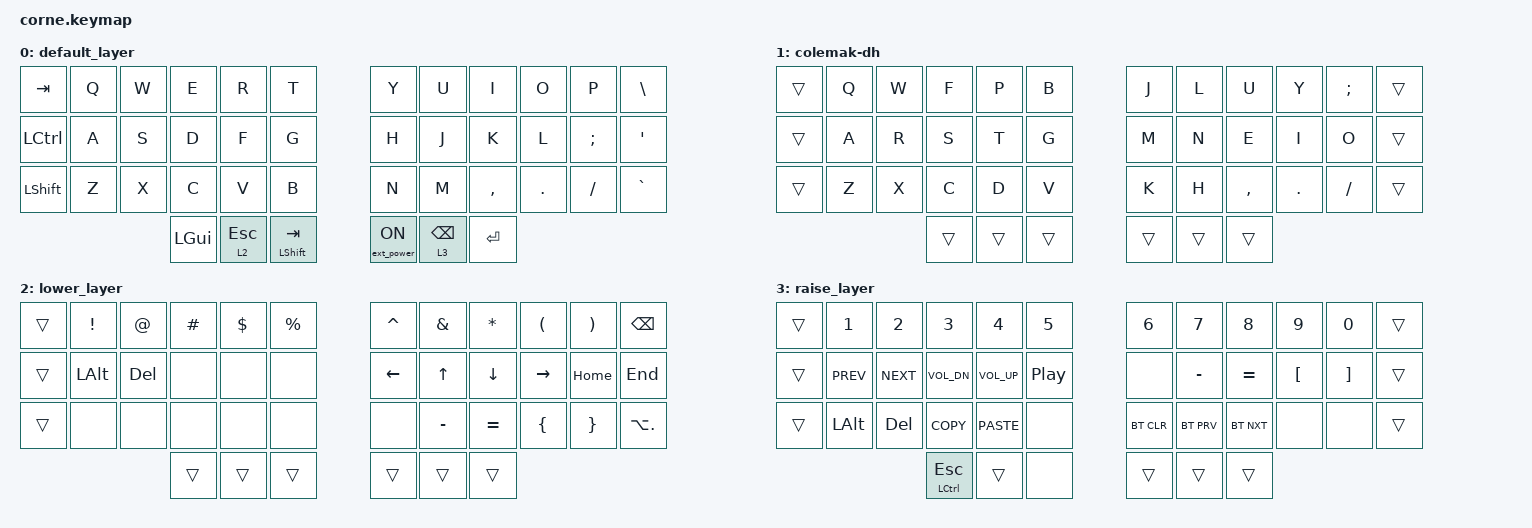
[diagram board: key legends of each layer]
/*
 * Copyright (c) 2020 The ZMK Contributors
 *
 * SPDX-License-Identifier: MIT
 */

#include <behaviors.dtsi>
#include <dt-bindings/zmk/bt.h>
#include <dt-bindings/zmk/ext_power.h>
#include <dt-bindings/zmk/keys.h>

#define DEFAULT 0
#define LOWER 1
#define RAISE 2
#define COLEMAK 3

&lt {
    tapping-term-ms = <200>;
    quick-tap-ms = <200>;
};

/ {
    combos {
        compatible = "zmk,combos";

        combo_esc {
            timeout-ms = <50>;
            key-positions = <19 20>;
            bindings = <&kp ESC>;
        };

        toggle-colemak {
            bindings = <&tog 1>;
            key-positions = <37 40>;
        };
    };

    keymap {
        compatible = "zmk,keymap";

        default_layer {
            // -----------------------------------------------------------------------------------------
            // |  TAB  |  Q  |  W  |  E  |  R  |  T  |   |  Y  |  U   |  I  |  O  |  P  | BSLH |
            // |  CTRL |  A  |  S  |  D  |  F  |  G  |   |  H  |  J   |  K  |  L  |  ;  | SQT  |
            // | SHFT  |  Z  |  X  |  C  |  V  |  B  |   |  N  |  M   |  ,  |  .  |  /  | GRAVE|
            //   | GUI | L1 and ESC | LSHIFT and TAB |   |SPACE| L2 and BSPC | ENTER |

            bindings = <
&kp TAB    &kp Q  &kp W  &kp E     &kp R      &kp T            &kp Y             &kp U       &kp I      &kp O    &kp P     &kp BSLH
&kp LCTRL  &kp A  &kp S  &kp D     &kp F      &kp G            &kp H             &kp J       &kp K      &kp L    &kp SEMI  &kp SQT
&kp LSHFT  &kp Z  &kp X  &kp C     &kp V      &kp B            &kp N             &kp M       &kp COMMA  &kp DOT  &kp FSLH  &kp GRAVE
                         &kp LGUI  &lt 2 ESC  &mt LSHFT TAB    &ext_power EP_ON  &lt 3 BSPC  &kp RET
            >;
        };

        colemak-dh {
            bindings = <
&trans  &kp Q  &kp W  &kp F   &kp P   &kp B     &kp J   &kp L   &kp U      &kp Y    &kp SEMI  &trans
&trans  &kp A  &kp R  &kp S   &kp T   &kp G     &kp M   &kp N   &kp E      &kp I    &kp O     &trans
&trans  &kp Z  &kp X  &kp C   &kp D   &kp V     &kp K   &kp H   &kp COMMA  &kp DOT  &kp FSLH  &trans
                      &trans  &trans  &trans    &trans  &trans  &trans
            >;
        };

        lower_layer {
            // -----------------------------------------------------------------------------------------
            // |  TAB |  !  |  @  |  #  |  $   |  %   |   |  ^   |  &   |  *  |  (   |  )  | DEL   |
            // | TRANS| ALT | DEL |     |      |      |   | LEFT |  UP  |DOWN |RIGHT | HOME| END   |
            // | TRANS|     |     |     |      |      |   |      |  -   |  =  |  {   |   } | ALT+. |
            //                    |TRANS| TRANS|TRANS |   |TRANS | TRANS | TRANS |

            bindings = <
&trans  &kp EXCL  &kp AT   &kp HASH  &kp DLLR  &kp PRCNT    &kp CARET  &kp AMPS   &kp ASTRK  &kp LPAR   &kp RPAR  &kp BSPC
&trans  &kp LALT  &kp DEL  &none     &none     &none        &kp LEFT   &kp UP     &kp DOWN   &kp RIGHT  &kp HOME  &kp END
&trans  &none     &none    &none     &none     &none        &none      &kp MINUS  &kp EQUAL  &kp LBRC   &kp RBRC  &kp LA(DOT)
                           &trans    &trans    &trans       &trans     &trans     &trans
            >;
        };

        raise_layer {
            // -----------------------------------------------------------------------------------------
            // | TRANS|   1  |  2  |  3  |    4   |   5  |   |    6   |    7   |    8   |   9   |   0  |  TRANS |
            // | TRANS|MPREV |MNEXT|MVOLD|  MVOLU |MPALY |   |        |    -   |    =   |   [   |   ]  |  TRANS |
            // | TRANS| ALT  | DEL | COPY | PASTE |      |   | BTCLR  | BTPRV |  BTNXT  |       |      |  TRANS |
            //                     | CTRL | ENT | TAB |   | BSPC | SPC | LSFT |

            bindings = <
&trans  &kp N1      &kp N2      &kp N3         &kp N4        &kp N5      &kp N6      &kp N7      &kp N8      &kp N9    &kp N0    &trans
&trans  &kp C_PREV  &kp C_NEXT  &kp C_VOL_DN   &kp C_VOL_UP  &kp C_PP    &none       &kp MINUS   &kp EQUAL   &kp LBKT  &kp RBKT  &trans
&trans  &kp LALT    &kp DEL     &kp K_COPY     &kp K_PASTE   &none       &bt BT_CLR  &bt BT_PRV  &bt BT_NXT  &none     &none     &trans
                                &mt LCTRL ESC  &trans        &none       &trans      &trans      &trans
            >;
        };
    };

    conditional_layers { compatible = "zmk,conditional-layers"; };
};
